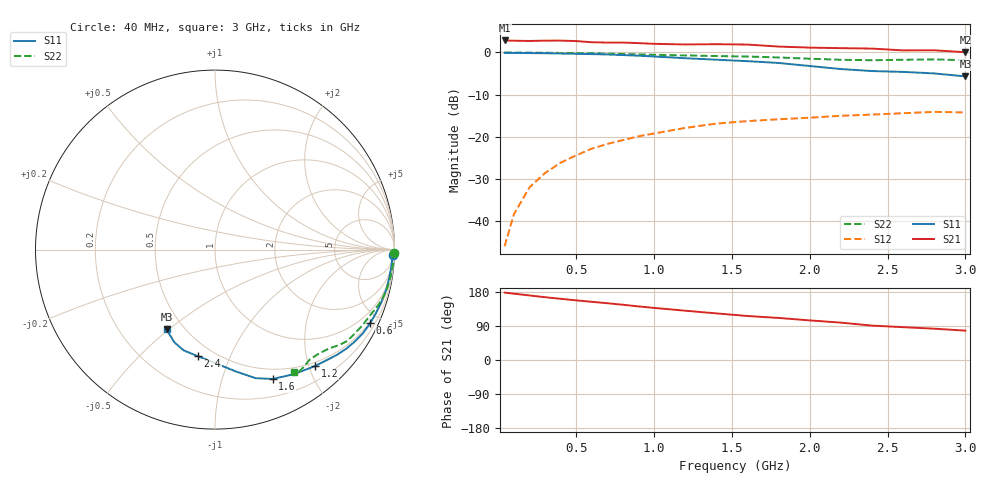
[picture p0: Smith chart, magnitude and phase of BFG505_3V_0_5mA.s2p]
! Filename:  BFG505A.S2P  Version:  3.0
! Philips part #: BFG505  Date: Feb 1992
! Bias condition: Vce=3V, Ic=.50mA
! IN LINE PINNING: same data as with cross emitter pinning.
#  MHz  S  MA  R  50
! Freq  S11  S21  S12  S22  !GUM [dB]
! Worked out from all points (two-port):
!   21 points, 40 MHz to 3 GHz, reference 50 ohm
!   highest |S21| = 2.86 dB at 40 MHz (marker M1); lowest = 0.1 dB at 3 GHz (marker M2)
!   |S21| within 3 dB of the highest: start of sweep to end of sweep
!   lowest |S11| = -5.7 dB at 3 GHz (marker M3), VSWR 3.17, Z = 20.1 - j24.5 ohm
!   |S11| at or under -10 dB: nowhere
!   |S22| runs from -1.8 to 0.0 dB; largest |S21 - S12| = 1.4
!   S11 on the Smith chart (normalised r, x): 40 MHz: 20, -60; 600 MHz: 0.45, -4.39; 1.2 GHz: 0.44, -2.10; 1.6 GHz: 0.38, -1.47; 2.4 GHz: 0.41, -0.77; 3 GHz: 0.40, -0.49
40  0.99 -1.7  1.39 177.9  0.005 87.1  0.998 -1.0
100  0.988 -4.3  1.38 175.0  0.012 87.2  0.997 -2.5
200  0.984 -8.6  1.371 170.3  0.025 84.3  0.995 -4.9
300  0.98 -12.9  1.383 165.7  0.037 81.3  0.992 -7.4
400  0.972 -17.4  1.385 161.5  0.049 78.2  0.988 -9.7
500  0.964 -21.5  1.366 157.4  0.06 75.7  0.984 -12.1
600  0.957 -25.4  1.324 153.5  0.072 73.4  0.978 -14.4
700  0.947 -29.4  1.311 149.8  0.082 70.6  0.971 -16.5
800  0.932 -33.4  1.312 145.8  0.091 67.9  0.961 -18.7
900  0.916 -37.2  1.292 141.4  0.101 65.2  0.95 -20.7
1000  0.896 -41.1  1.268 137.5  0.109 62.7  0.939 -22.9
1200  0.855 -49.4  1.245 130.1  0.127 58.4  0.923 -27.3
1400  0.821 -57.8  1.255 123.0  0.143 54.4  0.907 -31.3
1600  0.789 -66.0  1.242 116.1  0.153 50.8  0.896 -34.6
1800  0.751 -72.5  1.176 111.0  0.161 48.5  0.873 -37.5
2000  0.691 -80.0  1.143 104.5  0.168 44.3  0.843 -40.7
2200  0.636 -89.1  1.126 98.6  0.177 40.5  0.819 -44.9
2400  0.602 -99.0  1.113 90.8  0.183 36.7  0.809 -49.3
2600  0.588 -107.3  1.059 86.6  0.19 36.0  0.82 -53.1
2800  0.564 -113.7  1.062 82.6  0.197 34.9  0.826 -55.4
3000  0.52 -121.3  1.008 77.5  0.194 33.1  0.811 -57.2
